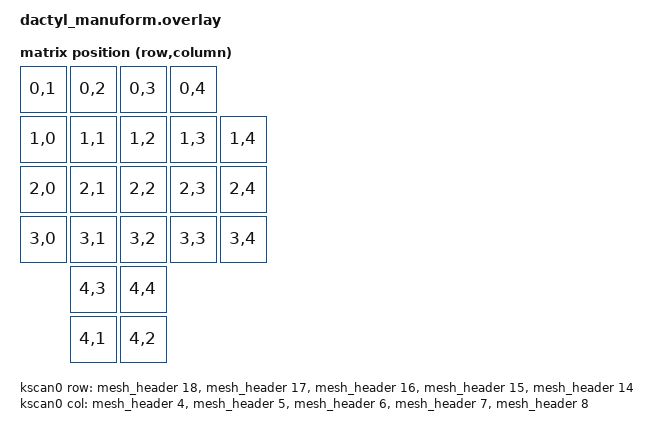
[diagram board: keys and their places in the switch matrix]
/*
 * Copyright (c) 2020 Bartosz Nowak
 *
 * SPDX-License-Identifier: MIT
 */

#include <dt-bindings/zmk/matrix_transform.h>

/ {
	chosen {
		zmk,kscan = &kscan0;
		zmk,matrix_transform = &default_transform;
	};

	default_transform: keymap_transform_0 {
		compatible = "zmk,matrix-transform";
		columns = <5>;
		rows = <5>;
		map = <
				RC(0,1) RC(0,2) RC(0,3) RC(0,4)
			RC(1,0) RC(1,1) RC(1,2) RC(1,3) RC(1,4)
			RC(2,0) RC(2,1) RC(2,2) RC(2,3) RC(2,4)
			RC(3,0) RC(3,1) RC(3,2) RC(3,3) RC(3,4)
						RC(4,3) RC(4,4)
						RC(4,1) RC(4,2)

		>;
	};

//  TODO: Switch form mesh_header to arduino header think of better way
	kscan0: kscan_0 {
		compatible = "zmk,kscan-gpio-matrix";
		label = "KSCAN";
		diode-direction = "row2col";
		row-gpios
			= <&mesh_header 18 (GPIO_ACTIVE_HIGH)>
			, <&mesh_header 17 (GPIO_ACTIVE_HIGH)>
			, <&mesh_header 16 (GPIO_ACTIVE_HIGH)>
			, <&mesh_header 15 (GPIO_ACTIVE_HIGH)>
			, <&mesh_header 14 (GPIO_ACTIVE_HIGH)>
			;

		col-gpios
			= <&mesh_header 4 (GPIO_ACTIVE_HIGH | GPIO_PULL_DOWN)>
			, <&mesh_header 5 (GPIO_ACTIVE_HIGH | GPIO_PULL_DOWN)>
			, <&mesh_header 6 (GPIO_ACTIVE_HIGH | GPIO_PULL_DOWN)>
			, <&mesh_header 7 (GPIO_ACTIVE_HIGH | GPIO_PULL_DOWN)>
			, <&mesh_header 8 (GPIO_ACTIVE_HIGH | GPIO_PULL_DOWN)>
			;
	};
};
